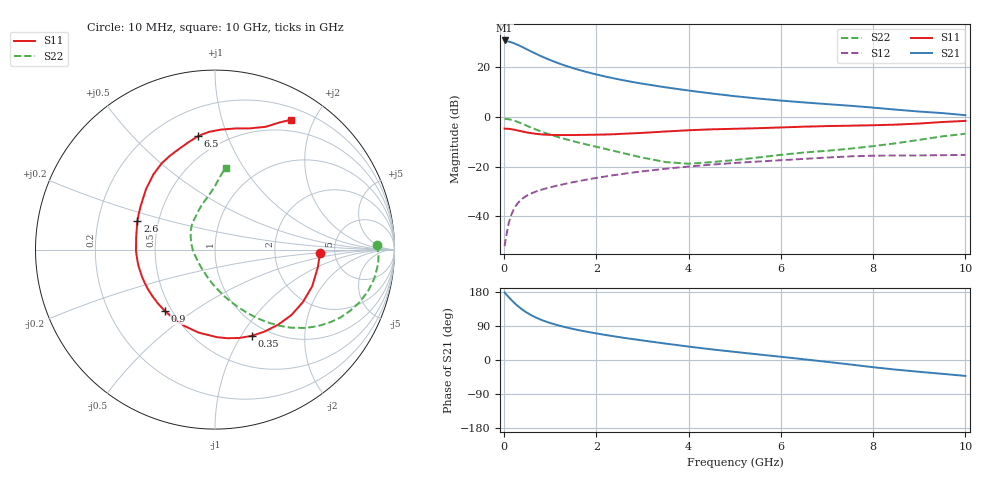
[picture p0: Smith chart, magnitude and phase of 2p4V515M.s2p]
! (c) 2009  Infineon Technologies AG, Munich
! Infineon Technologies  Discrete & RF Semiconductors
! BFP420
! VCE =  4.5 V,  IC =  15 mA
! Common Emitter S-Parameters:  Nov 2009
# GHz  S  MA  R  50
!  f  S11  S21  S12  S22
! GHz  MAG  ANG  MAG  ANG  MAG  ANG  MAG  ANG
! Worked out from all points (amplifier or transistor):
!   46 points, 10 MHz to 10 GHz, reference 50 ohm
!   highest |S21| = 30.9 dB at 10 MHz (marker M1)
!   |S21| within 3 dB of that: start of sweep to 433 MHz
!   unconditionally stable (mu >= 1): start of sweep to 23.72 MHz; 2.039 GHz to end of sweep
!   at 300 MHz: K = 0.37, MSG = 31.8 dB, |S12| = -34.6 dB
!   at 1.7 GHz: K = 0.92, MSG = 22.1 dB, |S12| = -25.5 dB
!   at 10 GHz: K = 1.08, MAG = 6.3 dB, |S12| = -15.3 dB
!   lowest NFmin = 1.06 dB at 900 MHz
!   S11 on the Smith chart (normalised r, x): 10 MHz: 3.81, -0.24; 350 MHz: 0.84, -1.11; 900 MHz: 0.46, -0.39; 2.6 GHz: 0.38, +0.16; 6.5 GHz: 0.37, +0.79; 10 GHz: 0.35, +1.68
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0.01  0.5855 -2.0  34.93 178.4  0.0025 19.6  0.9017 1.6
0.02  0.5835 -3.9  33.91 176.5  0.0029 33.3  0.9117 -1.6
0.1  0.5788 -20.7  33.02 165.8  0.0074 62.1  0.9022 -10.3
0.15  0.5704 -30.8  32.08 159.4  0.0104 65.0  0.8825 -15.4
0.2  0.5605 -40.6  30.98 153.3  0.0133 64.3  0.8564 -20.1
0.25  0.5467 -49.9  29.62 147.4  0.0161 62.8  0.8265 -24.4
0.3  0.5338 -58.8  28.36 142.1  0.0186 61.2  0.7938 -28.5
0.35  0.5221 -67.0  26.98 137.2  0.0208 59.5  0.7602 -32.1
0.45  0.4986 -82.0  24.29 128.3  0.0246 56.5  0.6942 -38.4
0.6  0.4716 -101.1  20.67 117.3  0.0292 53.2  0.6057 -45.9
0.7  0.4583 -111.8  18.63 111.4  0.0318 51.8  0.5556 -49.8
0.9  0.4417 -129.1  15.35 101.6  0.0363 50.2  0.4753 -56.1
1.2  0.4339 -149.0  11.91 90.5  0.0425 49.0  0.3873 -63.8
1.7  0.4366 -172.0  8.514 76.8  0.0529 47.7  0.2925 -74.5
2.2  0.4448 170.9  6.528 66.0  0.0636 45.6  0.2275 -85.2
2.6  0.461 159.5  5.475 58.4  0.0721 43.4  0.1856 -95.8
3.5  0.5114 138.7  3.969 43.3  0.0907 37.1  0.1237 -130.2
5.5  0.5959 109.6  2.362 14.9  0.1268 20.8  0.1528 152.5
6.5  0.6398 98.4  1.97 1.9  0.1435 12.5  0.1931 131.3
7  0.657 92.9  1.822 -4.9  0.1525 8.0  0.2087 122.2
8.5  0.7036 73.8  1.408 -25.5  0.1678 -8.4  0.2963 97.9
10  0.8363 59.8  1.089 -42.0  0.1724 -19.3  0.4607 82.7
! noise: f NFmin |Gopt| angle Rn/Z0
0.9  1.06  0.09  -152  0.13
1.8  1.36  0.18  -147  0.12
2.4  1.49  0.17  -148  0.14
3  1.53  0.25  -138  0.14
4  1.67  0.38  -119  0.2
5  2.14  0.44  -103  0.32
6  2.48  0.5  -88  0.47
